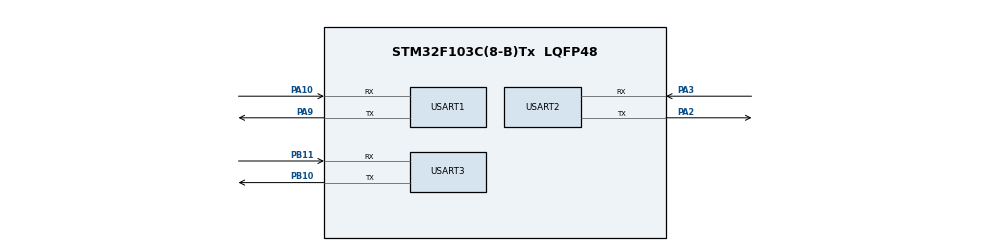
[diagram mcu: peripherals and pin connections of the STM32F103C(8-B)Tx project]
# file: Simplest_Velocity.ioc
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Mcu.Family=STM32F1
Mcu.Name=STM32F103C(8-B)Tx
Mcu.Package=LQFP48
NVIC.PriorityGroup=NVIC_PRIORITYGROUP_4
NVIC.USART1_IRQn=true\:0\:0\:false\:false\:true\:true\:true\:true
PA10.Mode=Asynchronous
PA10.Signal=USART1_RX
PA13.Mode=Serial_Wire
PA13.Signal=SYS_JTMS-SWDIO
PA14.Mode=Serial_Wire
PA14.Signal=SYS_JTCK-SWCLK
PA2.Mode=Asynchronous
PA2.Signal=USART2_TX
PA3.Mode=Asynchronous
PA3.Signal=USART2_RX
PA9.Mode=Asynchronous
PA9.Signal=USART1_TX
PB10.Mode=Asynchronous
PB10.Signal=USART3_TX
PB11.Mode=Asynchronous
PB11.Signal=USART3_RX
ProjectManager.HeapSize=0x200
ProjectManager.StackSize=0x400
ProjectManager.TargetToolchain=CMake
RCC.APB1Freq_Value=8000000
RCC.APB2Freq_Value=8000000
USART1.VirtualMode=VM_ASYNC
USART2.VirtualMode=VM_ASYNC
USART3.VirtualMode=VM_ASYNC
board=custom

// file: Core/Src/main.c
/* USER CODE BEGIN Header */
/**
  ******************************************************************************
  * @file           : main.c
  * @brief          : Main program body
  ******************************************************************************
  * @attention
  *
  * Copyright (c) 2026 STMicroelectronics.
  * All rights reserved.
  *
  * This software is licensed under terms that can be found in the LICENSE file
  * in the root directory of this software component.
  * If no LICENSE file comes with this software, it is provided AS-IS.
  *
  ******************************************************************************
  */
/* USER CODE END Header */
#include "main.h"
#include "stdio.h"
#include "string.h"

UART_HandleTypeDef huart1;
UART_HandleTypeDef huart2;
UART_HandleTypeDef huart3;

void SystemClock_Config(void);
static void MX_GPIO_Init(void);
static void MX_USART1_UART_Init(void);
static void MX_USART2_UART_Init(void);
static void MX_USART3_UART_Init(void);

/* USER CODE BEGIN 0 */

void displayOutput_UART2()
{
  char msg2[] = "UART2 OK\r\n";

  HAL_UART_Transmit(&huart2,
                      (uint8_t *)msg2,
                      sizeof(msg2) - 1,
                      1000);
    HAL_Delay(1000);
}
void displayOutput_UART1()
{
  char msg2[] = "UART1 OK\r\n";

  HAL_UART_Transmit(&huart1,
                      (uint8_t *)msg2,
                      sizeof(msg2) - 1,
                      1000);
    HAL_Delay(1000);
}
void displayOutput_UART3()
{
  char msg2[] = "UART3 OK\r\n";

  HAL_UART_Transmit(&huart3,
                      (uint8_t *)msg2,
                      sizeof(msg2) - 1,
                      1000);
    HAL_Delay(1000);
}

//init velocity
static uint8_t  rx_byte;            /* single byte received by IT */
static uint8_t  frame[9];
static uint8_t  idx = 0;

static volatile uint8_t  data_ready = 0;
static volatile uint16_t lidar_dist = 0;   /* cm */
static volatile uint16_t lidar_str  = 0;
static volatile float    lidar_temp = 0;   /* deg C */

volatile uint32_t rx_count = 0;
volatile uint32_t err_count = 0;
volatile uint32_t frame_ok = 0;
volatile uint32_t frame_bad = 0;
uint8_t last[9];

static uint16_t previousDistance = 0;
static uint32_t previousTime = 0;
static uint8_t firstRun = 1;

//init velocity
static void tfmini_feed(uint8_t b)
{
    /* sync on two 0x59 header bytes */
    if (idx == 0 && b != 0x59) return;
    if (idx == 1 && b != 0x59) { idx = 0; return; }

    frame[idx++] = b;

    if (idx == 9) {
        idx = 0;
        uint8_t sum = 0;
        for (int i = 0; i < 8; i++) sum += frame[i];

        if (sum == frame[8]) {
            lidar_dist = frame[2] | (frame[3] << 8);
            lidar_str  = frame[4] | (frame[5] << 8);
            lidar_temp = (frame[6] | (frame[7] << 8)) / 8.0f - 256.0f;
            data_ready = 1;
        }
    }
}
void HAL_UART_RxCpltCallback(UART_HandleTypeDef *huart)
{
    if (huart->Instance == USART1) {
        rx_count++;
        tfmini_feed(rx_byte);
        HAL_UART_Receive_IT(&huart1, &rx_byte, 1);
    }
}

void HAL_UART_ErrorCallback(UART_HandleTypeDef *huart)
{
    if (huart->Instance == USART1) {
        err_count++;
        __HAL_UART_CLEAR_OREFLAG(huart);
        __HAL_UART_CLEAR_FEFLAG(huart);
        __HAL_UART_CLEAR_NEFLAG(huart);
        HAL_UART_Receive_IT(&huart1, &rx_byte, 1);
    }
}

double calculateVelocity(uint16_t distance)
{
    uint32_t currentTime = HAL_GetTick();

    if (firstRun)
    {
        previousDistance = distance;
        previousTime = currentTime;
        firstRun = 0;
        return 0.0f;
    }

    uint32_t deltaTime = currentTime - previousTime;

    if (deltaTime == 0)
        return 0.0f;

    uint16_t deltaDistance =
        (uint16_t)distance - (uint16_t)previousDistance;

    // mm/ms = m/s
    uint16_t velocity = (uint16_t)( deltaDistance * 1000) / (uint16_t)deltaTime;

    uint16_t  oldPreviousDistance=previousDistance;
    previousDistance = distance;
    previousTime = currentTime;

    //logging for debuging the calculate
    char velocityMsg[200];
    int len =snprintf(velocityMsg, sizeof(velocityMsg),
                               "At calculateVelocity previousDistance: %.1d , currenDistance:  %.1d , deltaDistance: %.1d / detalTime: %lu  \r\n = calculated_velocity: %.1d \r\n",
                               oldPreviousDistance,distance,deltaDistance,deltaTime,velocity);

    HAL_UART_Transmit(&huart2,
                                  (uint8_t *)velocityMsg,
                                  len,
                                  1000);
    //ending logging for debugging the calculate

    return velocity;
}
/* ---------- USER CODE BEGIN 0 ---------- */

/* USER CODE END 0 */

int main(void)
{

  /* MCU Configuration--------------------------------------------------------*/

  /* Reset of all peripherals, Initializes the Flash interface and the Systick. */
  HAL_Init();

  /* Configure the system clock */
  SystemClock_Config();

  /* Initialize all configured peripherals */
  MX_GPIO_Init();
  MX_USART1_UART_Init();
  MX_USART2_UART_Init();//testing output COM
  MX_USART3_UART_Init();
  /* USER CODE BEGIN 2 */
  HAL_UART_Receive_IT(&huart1, &rx_byte, 1);
  char msg[100];
  char m[80];
  char velocityMsg[100];
  /* USER CODE END 2 */

  /* Infinite loop */
  while (1)
  {

    /* USER CODE BEGIN 3 */
    HAL_GPIO_TogglePin(GPIOC, GPIO_PIN_13);//test code
    //displayOutput_UART1();//test uẩrt1
    //displayOutput_UART2();//test uẩrt2
    //displayOutput_UART3();//test uẩrt3

    int n = snprintf(m, sizeof(m), "rx=%lu err=%lu ok=%lu bad=%lu\r\n",
                     rx_count, err_count, frame_ok, frame_bad);
    HAL_UART_Transmit(&huart2, (uint8_t*)m, n, 100);
    HAL_Delay(1000);

    if (data_ready) {
            data_ready = 0;
            int len = snprintf(msg, sizeof(msg),
                               "Dist: %u cm | Str: %u | Temp: %.1f C\r\n",
                               lidar_dist, lidar_str, lidar_temp);
            HAL_UART_Transmit(&huart2, (uint8_t *)msg, len, 100);

            uint16_t simple_velocity=calculateVelocity(lidar_dist);

            int len2 =snprintf(velocityMsg, sizeof(velocityMsg),
                               "Simple velocity of static_lidar: %.1d cm/s (chu ky 10ms 100hz 100lan/s) \r\n",
                               simple_velocity);

            HAL_UART_Transmit(&huart2,
                                  (uint8_t *)velocityMsg,
                                  len2,
                                  1000);
    }
    else
    {
      sprintf(msg,"no new data from lidar yet \r\n");
      HAL_UART_Transmit(&huart2,
                              (uint8_t*)msg,
                              strlen(msg),
                              HAL_MAX_DELAY);
    }

    HAL_Delay(1000);
  }
  /* USER CODE END 3 */
}

void SystemClock_Config(void)
{
  RCC_OscInitTypeDef RCC_OscInitStruct = {0};
  RCC_ClkInitTypeDef RCC_ClkInitStruct = {0};

  /** Initializes the RCC Oscillators according to the specified parameters
  * in the RCC_OscInitTypeDef structure.
  */
  RCC_OscInitStruct.OscillatorType = RCC_OSCILLATORTYPE_HSI;
  RCC_OscInitStruct.HSIState = RCC_HSI_ON;
  RCC_OscInitStruct.HSICalibrationValue = RCC_HSICALIBRATION_DEFAULT;
  RCC_OscInitStruct.PLL.PLLState = RCC_PLL_NONE;
  if (HAL_RCC_OscConfig(&RCC_OscInitStruct) != HAL_OK)
  {
    Error_Handler();
  }

  /** Initializes the CPU, AHB and APB buses clocks
  */
  RCC_ClkInitStruct.ClockType = RCC_CLOCKTYPE_HCLK|RCC_CLOCKTYPE_SYSCLK
                              |RCC_CLOCKTYPE_PCLK1|RCC_CLOCKTYPE_PCLK2;
  RCC_ClkInitStruct.SYSCLKSource = RCC_SYSCLKSOURCE_HSI;
  RCC_ClkInitStruct.AHBCLKDivider = RCC_SYSCLK_DIV1;
  RCC_ClkInitStruct.APB1CLKDivider = RCC_HCLK_DIV1;
  RCC_ClkInitStruct.APB2CLKDivider = RCC_HCLK_DIV1;

  if (HAL_RCC_ClockConfig(&RCC_ClkInitStruct, FLASH_LATENCY_0) != HAL_OK)
  {
    Error_Handler();
  }
}

static void MX_USART1_UART_Init(void)
{

  huart1.Instance = USART1;
  huart1.Init.BaudRate = 115200;
  huart1.Init.WordLength = UART_WORDLENGTH_8B;
  huart1.Init.StopBits = UART_STOPBITS_1;
  huart1.Init.Parity = UART_PARITY_NONE;
  huart1.Init.Mode = UART_MODE_TX_RX;
  huart1.Init.HwFlowCtl = UART_HWCONTROL_NONE;
  huart1.Init.OverSampling = UART_OVERSAMPLING_16;
  if (HAL_UART_Init(&huart1) != HAL_OK)
  {
    Error_Handler();
  }

}

static void MX_USART2_UART_Init(void)
{

  huart2.Instance = USART2;
  huart2.Init.BaudRate = 115200;
  huart2.Init.WordLength = UART_WORDLENGTH_8B;
  huart2.Init.StopBits = UART_STOPBITS_1;
  huart2.Init.Parity = UART_PARITY_NONE;
  huart2.Init.Mode = UART_MODE_TX_RX;
  huart2.Init.HwFlowCtl = UART_HWCONTROL_NONE;
  huart2.Init.OverSampling = UART_OVERSAMPLING_16;
  if (HAL_UART_Init(&huart2) != HAL_OK)
  {
    Error_Handler();
  }

}

static void MX_USART3_UART_Init(void)
{

  huart3.Instance = USART3;
  huart3.Init.BaudRate = 115200;
  huart3.Init.WordLength = UART_WORDLENGTH_8B;
  huart3.Init.StopBits = UART_STOPBITS_1;
  huart3.Init.Parity = UART_PARITY_NONE;
  huart3.Init.Mode = UART_MODE_TX_RX;
  huart3.Init.HwFlowCtl = UART_HWCONTROL_NONE;
  huart3.Init.OverSampling = UART_OVERSAMPLING_16;
  if (HAL_UART_Init(&huart3) != HAL_OK)
  {
    Error_Handler();
  }

}

static void MX_GPIO_Init(void)
{
  /* USER CODE BEGIN MX_GPIO_Init_1 */
  GPIO_InitTypeDef GPIO_InitStruct = {0};

    /* GPIO Ports Clock Enable */
    __HAL_RCC_GPIOA_CLK_ENABLE();
    __HAL_RCC_GPIOC_CLK_ENABLE();

    /* Configure PC13 as Output */
    HAL_GPIO_WritePin(GPIOC, GPIO_PIN_13, GPIO_PIN_SET);

    GPIO_InitStruct.Pin = GPIO_PIN_13;
    GPIO_InitStruct.Mode = GPIO_MODE_OUTPUT_PP;
    GPIO_InitStruct.Pull = GPIO_NOPULL;
    GPIO_InitStruct.Speed = GPIO_SPEED_FREQ_LOW;

    HAL_GPIO_Init(GPIOC, &GPIO_InitStruct);
  /* USER CODE END MX_GPIO_Init_1 */

  /* GPIO Ports Clock Enable */
  __HAL_RCC_GPIOA_CLK_ENABLE();
  __HAL_RCC_GPIOB_CLK_ENABLE();

}

void Error_Handler(void)
{
  __disable_irq();
  while (1)
  {
  }
}
